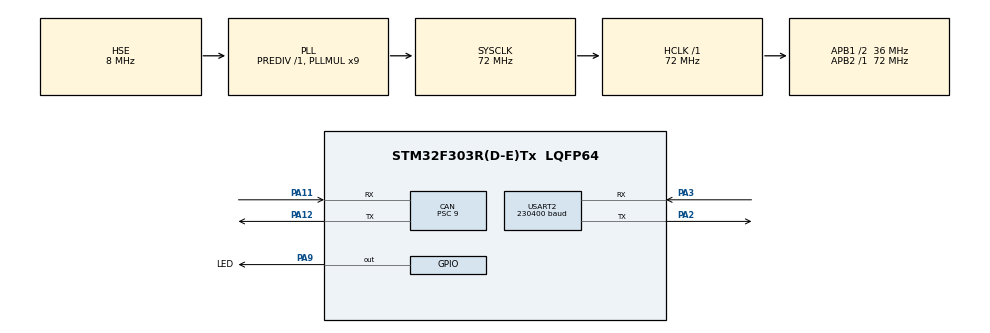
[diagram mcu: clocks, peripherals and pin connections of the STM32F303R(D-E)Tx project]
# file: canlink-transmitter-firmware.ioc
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CAN.BS1=CAN_BS1_6TQ
CAN.CalculateBaudRate=500000
CAN.CalculateTimeBit=2000
CAN.CalculateTimeQuantum=250.0
CAN.NART=ENABLE
CAN.Prescaler=9
Mcu.Family=STM32F3
Mcu.Name=STM32F303R(D-E)Tx
Mcu.Package=LQFP64
NVIC.PriorityGroup=NVIC_PRIORITYGROUP_4
PA11.Mode=CAN_Activate
PA11.Signal=CAN_RX
PA12.Mode=CAN_Activate
PA12.Signal=CAN_TX
PA13.Mode=Serial_Wire
PA13.Signal=SYS_JTMS-SWDIO
PA14.Mode=Serial_Wire
PA14.Signal=SYS_JTCK-SWCLK
PA2.Mode=Asynchronous
PA2.Signal=USART2_TX
PA3.Mode=Asynchronous
PA3.Signal=USART2_RX
PA9.GPIO_Label=LED
PA9.Signal=GPIO_Output
PF0-OSC_IN.Mode=HSE-External-Oscillator
PF0-OSC_IN.Signal=RCC_OSC_IN
PF1-OSC_OUT.Mode=HSE-External-Oscillator
PF1-OSC_OUT.Signal=RCC_OSC_OUT
ProjectManager.HeapSize=0x200
ProjectManager.StackSize=0x400
ProjectManager.TargetToolchain=Makefile
RCC.AHBFreq_Value=72000000
RCC.APB1CLKDivider=RCC_HCLK_DIV2
RCC.APB1Freq_Value=36000000
RCC.APB1TimFreq_Value=72000000
RCC.APB2Freq_Value=72000000
RCC.APB2TimFreq_Value=72000000
RCC.CortexFreq_Value=72000000
RCC.HCLKFreq_Value=72000000
RCC.HSE_VALUE=8000000
RCC.HSI_VALUE=8000000
RCC.LSE_VALUE=32768
RCC.PLLMUL=RCC_PLL_MUL9
RCC.PLLSourceVirtual=RCC_PLLSOURCE_HSE
RCC.SYSCLKFreq_VALUE=72000000
RCC.SYSCLKSourceVirtual=RCC_SYSCLKSOURCE_PLLCLK
RCC.USBFreq_Value=72000000
USART2.BaudRate=230400
USART2.VirtualMode-Asynchronous=VM_ASYNC
VP_CRC_VS_CRC.Mode=CRC_Activate
board=custom

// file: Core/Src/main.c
/* USER CODE BEGIN Header */
/**
 ******************************************************************************
 * @file           : main.c
 * @brief          : Main program body
 ******************************************************************************
 * @attention
 *
 * Copyright (c) 2023 STMicroelectronics.
 * All rights reserved.
 *
 * This software is licensed under terms that can be found in the LICENSE file
 * in the root directory of this software component.
 * If no LICENSE file comes with this software, it is provided AS-IS.
 *
 ******************************************************************************
 */
/* USER CODE END Header */
#include "main.h"

/* USER CODE BEGIN Includes */
#include "string.h"
#include "can-ids/CAN.h"
#include "can_serializer.h"
/* USER CODE END Includes */

CAN_HandleTypeDef hcan;

CRC_HandleTypeDef hcrc;

UART_HandleTypeDef huart2;

/* USER CODE BEGIN PV */
struct XBEE_TxBuffer {
  CANFrame frames[MAX_UNIQUE_IDS];
  uint32_t num_frames;
};
struct XBEE_TxBuffer xbee_tx_buffers[2];
struct XBEE_TxBuffer *xbee_active_buffer;
uint8_t active_buffer_idx = 0;

/* USER CODE END PV */

void SystemClock_Config(void);
static void MX_GPIO_Init(void);
static void MX_CAN_Init(void);
static void MX_CRC_Init(void);
static void MX_USART2_UART_Init(void);

/* USER CODE BEGIN 0 */

// build and send a CAN frame from a received buffer
CAN_TxHeaderTypeDef outmsg;
void buildFrame(CANFrame *tempFrame)
{
  if (tempFrame->syncWord == 0xA55A && validateChecksum(tempFrame)) // got a valid frame
  {
    // build an Mbed CAN frame and send it
    outmsg.DLC = tempFrame->dlc;
    outmsg.RTR = CAN_RTR_DATA;

    if (tempFrame->extended)
    {
      outmsg.IDE = CAN_ID_EXT;
      outmsg.ExtId = tempFrame->id;
    }
    else
    {
      outmsg.IDE = CAN_ID_STD;
      outmsg.StdId = tempFrame->id;
    }

    uint32_t _mb;
    HAL_CAN_AddTxMessage(&hcan, &outmsg, tempFrame->data, &_mb);
  }
}

void updateCanMap(CAN_RxHeaderTypeDef *msg, uint8_t data[8]) {
  uint32_t id = msg->StdId; // TODO Support extended ids
  // check for ID in map
  for(uint32_t i = 0; i < xbee_active_buffer->num_frames; ++i){
    if(xbee_active_buffer->frames[i].id == id) {
      // update message
      xbee_active_buffer->frames[i].extended = 0;
      xbee_active_buffer->frames[i].dlc = msg->DLC;
      memcpy(xbee_active_buffer->frames[i].data, data, msg->DLC);

      fillChecksum(&xbee_active_buffer->frames[i]);
      return;
    }
  }

  // new message
  if(xbee_active_buffer->num_frames < MAX_UNIQUE_IDS) {
    xbee_active_buffer->frames[xbee_active_buffer->num_frames].id = msg->StdId;
    xbee_active_buffer->frames[xbee_active_buffer->num_frames].extended = 0;
    xbee_active_buffer->frames[xbee_active_buffer->num_frames].dlc = msg->DLC;
    memcpy(xbee_active_buffer->frames[xbee_active_buffer->num_frames].data, data, msg->DLC);

      fillChecksum(&xbee_active_buffer->frames[xbee_active_buffer->num_frames]);
    xbee_active_buffer->num_frames++;
  }
}

// CAN Interrupt handler. Called whenever a new CAN frame is received.
void can_irq(CAN_HandleTypeDef *pcan) {
  // Message header
  CAN_RxHeaderTypeDef msg;
  // Message data. Only filled with as much data as the message contained, the rest is garbage.
  uint8_t data[8];

  // Read the next CAN frame
  HAL_CAN_GetRxMessage(pcan, CAN_RX_FIFO0, &msg, data);

  // Only accept standard CAN IDs, we don't use extended IDs.
  if(msg.IDE == CAN_ID_STD) {
    switch (msg.StdId)
      {
      // Add cases for each CAN ID you want to handle

      // ID 0xB0 is a bootloader command, so reset the mcu when received.
      case BOOTLOADER_ID:
        __NVIC_SystemReset(); // Reset to bootloader
        break;

      default:
        updateCanMap(&msg, data);
        break;
      }
  }
}

void xbee_tx(void) {
  struct XBEE_TxBuffer *send_buffer = xbee_active_buffer;

  __disable_irq();
  active_buffer_idx = (active_buffer_idx + 1) % 2;
  xbee_active_buffer = &xbee_tx_buffers[active_buffer_idx];
  xbee_active_buffer->num_frames = 0;
  __enable_irq();

  // check if there's anything to send
  if(send_buffer->num_frames == 0) return;

  // send frames 16 at a time
  for(uint32_t start_idx = 0; start_idx < send_buffer->num_frames; start_idx += 16) {
    // send up to 16 frames, but fewer if there's not enough
    uint32_t num_frames_to_send = 16;
    if(send_buffer->num_frames - start_idx < num_frames_to_send) num_frames_to_send = send_buffer->num_frames - start_idx;

    uint8_t *txdata = (uint8_t*)(void*) &send_buffer->frames[start_idx];
    HAL_UART_Transmit(&huart2, txdata, num_frames_to_send * sizeof(CANFrame), 100);
    HAL_Delay(INTERFRAME_PERIOD_MS);
  }
}
/* USER CODE END 0 */

int main(void)
{

  /* MCU Configuration--------------------------------------------------------*/

  /* Reset of all peripherals, Initializes the Flash interface and the Systick. */
  HAL_Init();

  /* Configure the system clock */
  SystemClock_Config();

  /* Initialize all configured peripherals */
  MX_GPIO_Init();
  MX_CAN_Init();
  MX_CRC_Init();
  MX_USART2_UART_Init();
  /* USER CODE BEGIN 2 */
  xbee_active_buffer = &xbee_tx_buffers[active_buffer_idx];

  // LED Indicator for startup
  HAL_GPIO_WritePin(LED_GPIO_Port, LED_Pin, 1);

  // wait for power to stabilize
  HAL_Delay(250);

  HAL_GPIO_WritePin(LED_GPIO_Port, LED_Pin, 0);

  /* USER CODE END 2 */

  /* Infinite loop */
  /* USER CODE BEGIN WHILE */
  while (1)
  {
    HAL_Delay(TRANSMIT_INTERVAL_MS);
    xbee_tx();
    /* USER CODE END WHILE */

  }
}

void SystemClock_Config(void)
{
  RCC_OscInitTypeDef RCC_OscInitStruct = {0};
  RCC_ClkInitTypeDef RCC_ClkInitStruct = {0};
  RCC_PeriphCLKInitTypeDef PeriphClkInit = {0};

  /** Initializes the RCC Oscillators according to the specified parameters
   * in the RCC_OscInitTypeDef structure.
   */
  RCC_OscInitStruct.OscillatorType = RCC_OSCILLATORTYPE_HSE;
  RCC_OscInitStruct.HSEState = RCC_HSE_ON;
  RCC_OscInitStruct.HSIState = RCC_HSI_ON;
  RCC_OscInitStruct.PLL.PLLState = RCC_PLL_ON;
  RCC_OscInitStruct.PLL.PLLSource = RCC_PLLSOURCE_HSE;
  RCC_OscInitStruct.PLL.PLLMUL = RCC_PLL_MUL9;
  RCC_OscInitStruct.PLL.PREDIV = RCC_PREDIV_DIV1;
  if (HAL_RCC_OscConfig(&RCC_OscInitStruct) != HAL_OK)
  {
    Error_Handler();
  }

  /** Initializes the CPU, AHB and APB buses clocks
   */
  RCC_ClkInitStruct.ClockType = RCC_CLOCKTYPE_HCLK | RCC_CLOCKTYPE_SYSCLK | RCC_CLOCKTYPE_PCLK1 | RCC_CLOCKTYPE_PCLK2;
  RCC_ClkInitStruct.SYSCLKSource = RCC_SYSCLKSOURCE_PLLCLK;
  RCC_ClkInitStruct.AHBCLKDivider = RCC_SYSCLK_DIV1;
  RCC_ClkInitStruct.APB1CLKDivider = RCC_HCLK_DIV2;
  RCC_ClkInitStruct.APB2CLKDivider = RCC_HCLK_DIV1;

  if (HAL_RCC_ClockConfig(&RCC_ClkInitStruct, FLASH_LATENCY_2) != HAL_OK)
  {
    Error_Handler();
  }
  PeriphClkInit.PeriphClockSelection = RCC_PERIPHCLK_USART2;
  PeriphClkInit.Usart2ClockSelection = RCC_USART2CLKSOURCE_PCLK1;
  if (HAL_RCCEx_PeriphCLKConfig(&PeriphClkInit) != HAL_OK)
  {
    Error_Handler();
  }
}

static void MX_CAN_Init(void)
{

  hcan.Instance = CAN;
  hcan.Init.Prescaler = 9;
  hcan.Init.Mode = CAN_MODE_NORMAL;
  hcan.Init.SyncJumpWidth = CAN_SJW_1TQ;
  hcan.Init.TimeSeg1 = CAN_BS1_6TQ;
  hcan.Init.TimeSeg2 = CAN_BS2_1TQ;
  hcan.Init.TimeTriggeredMode = DISABLE;
  hcan.Init.AutoBusOff = DISABLE;
  hcan.Init.AutoWakeUp = DISABLE;
  hcan.Init.AutoRetransmission = ENABLE;
  hcan.Init.ReceiveFifoLocked = DISABLE;
  hcan.Init.TransmitFifoPriority = DISABLE;
  if (HAL_CAN_Init(&hcan) != HAL_OK)
  {
    Error_Handler();
  }
  /* USER CODE BEGIN CAN_Init 2 */
  // Set up filter to accept all CAN messages
  CAN_FilterTypeDef sf;
  sf.FilterMaskIdHigh = 0x0000;
  sf.FilterMaskIdLow = 0x0000;
  sf.FilterFIFOAssignment = CAN_FILTER_FIFO0;
  sf.FilterBank = 0;
  sf.FilterMode = CAN_FILTERMODE_IDMASK;
  sf.FilterScale = CAN_FILTERSCALE_32BIT;
  sf.FilterActivation = CAN_FILTER_ENABLE;

  if (HAL_CAN_ConfigFilter(&hcan, &sf) != HAL_OK) {
    Error_Handler();
  }

  // Sets up a callback to can_irq(...) which will be called each time a CAN message is received.
  if (HAL_CAN_RegisterCallback(&hcan, HAL_CAN_RX_FIFO0_MSG_PENDING_CB_ID, can_irq)) {
    Error_Handler();
  }

  if (HAL_CAN_Start(&hcan) != HAL_OK) {
    Error_Handler();
  }

  // Enables interrupts
  if (HAL_CAN_ActivateNotification(&hcan, CAN_IT_RX_FIFO0_MSG_PENDING) != HAL_OK) {
    Error_Handler();
  }
  /* USER CODE END CAN_Init 2 */
}

static void MX_CRC_Init(void)
{

  hcrc.Instance = CRC;
  hcrc.Init.DefaultPolynomialUse = DEFAULT_POLYNOMIAL_ENABLE;
  hcrc.Init.DefaultInitValueUse = DEFAULT_INIT_VALUE_ENABLE;
  hcrc.Init.InputDataInversionMode = CRC_INPUTDATA_INVERSION_NONE;
  hcrc.Init.OutputDataInversionMode = CRC_OUTPUTDATA_INVERSION_DISABLE;
  hcrc.InputDataFormat = CRC_INPUTDATA_FORMAT_BYTES;
  if (HAL_CRC_Init(&hcrc) != HAL_OK)
  {
    Error_Handler();
  }
}

static void MX_USART2_UART_Init(void)
{

  huart2.Instance = USART2;
  huart2.Init.BaudRate = 230400;
  huart2.Init.WordLength = UART_WORDLENGTH_8B;
  huart2.Init.StopBits = UART_STOPBITS_1;
  huart2.Init.Parity = UART_PARITY_NONE;
  huart2.Init.Mode = UART_MODE_TX_RX;
  huart2.Init.HwFlowCtl = UART_HWCONTROL_NONE;
  huart2.Init.OverSampling = UART_OVERSAMPLING_16;
  huart2.Init.OneBitSampling = UART_ONE_BIT_SAMPLE_DISABLE;
  huart2.AdvancedInit.AdvFeatureInit = UART_ADVFEATURE_NO_INIT;
  if (HAL_UART_Init(&huart2) != HAL_OK)
  {
    Error_Handler();
  }
}

static void MX_GPIO_Init(void)
{
  GPIO_InitTypeDef GPIO_InitStruct = {0};

  /* GPIO Ports Clock Enable */
  __HAL_RCC_GPIOF_CLK_ENABLE();
  __HAL_RCC_GPIOA_CLK_ENABLE();

  /*Configure GPIO pin Output Level */
  HAL_GPIO_WritePin(LED_GPIO_Port, LED_Pin, GPIO_PIN_RESET);

  /*Configure GPIO pin : LED_Pin */
  GPIO_InitStruct.Pin = LED_Pin;
  GPIO_InitStruct.Mode = GPIO_MODE_OUTPUT_PP;
  GPIO_InitStruct.Pull = GPIO_NOPULL;
  GPIO_InitStruct.Speed = GPIO_SPEED_FREQ_LOW;
  HAL_GPIO_Init(LED_GPIO_Port, &GPIO_InitStruct);
}

void Error_Handler(void)
{
  __disable_irq();
  while (1)
  {
  }
}
